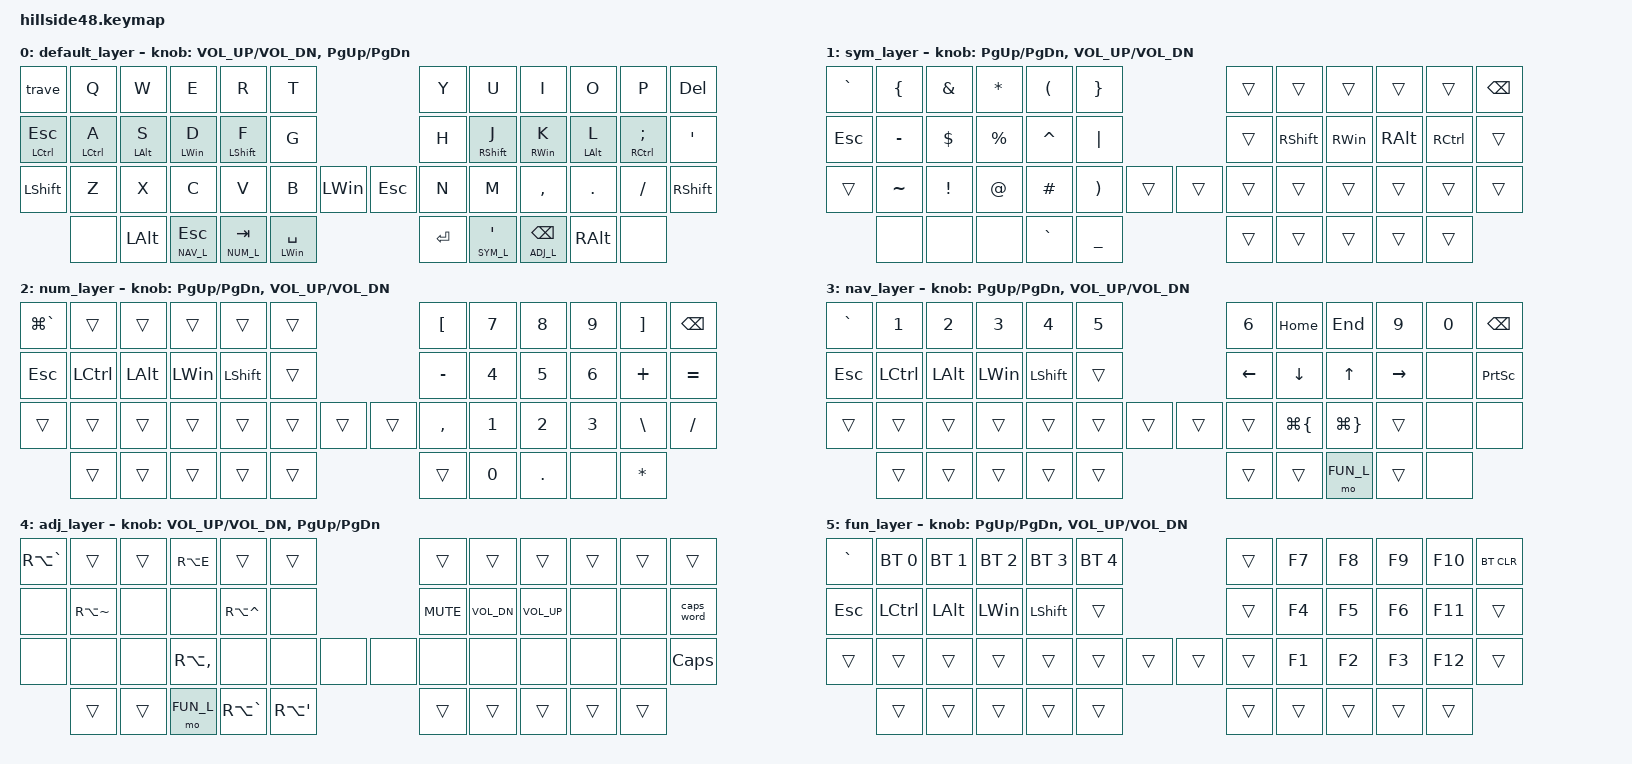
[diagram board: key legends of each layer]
/*
 * Copyright (c) 2022 The ZMK Contributors
 *
 * SPDX-License-Identifier: MIT
 */
/* use helper macros to define left and right hand keys */

#include <zmk-helpers/helper.h>
#include <zmk-helpers/key-labels/hillside48.h>                // keyposition helpers

#include <behaviors.dtsi>
#include <dt-bindings/zmk/bt.h>
#include <dt-bindings/zmk/ext_power.h>
#include <dt-bindings/zmk/keys.h>
#include <dt-bindings/zmk/outputs.h>

#define QWERTY_L 0
#define SYM_L    1
#define NUM_L    2
#define NAV_L    3
#define ADJ_L    4
#define FUN_L    5
#define Undo   LC(Z)
#define Cut    LC(X)
#define Copy   LC(C)
#define Paste  LC(V)
#define QUICK_TAP_MS 175
#define KEYS_L LT0 LT1 LT2 LT3 LT4 LT5 LM0 LM1 LM2 LM3 LM4 LM5 LB0 LB1 LB2 LB3 LB4 LB5
#define KEYS_R RT0 RT1 RT2 RT3 RT4 RT5 RM0 RM1 RM2 RM3 RM4 RM5 RB0 RB1 RB2 RB3 RB4 RB5
#define THUMBS LP0 LH4 LH3 LH2 LH1 LH0 RH0 RH1 RH2 RH3 RH4 RP0

#include "macros.dtsi"
#include "combos.dtsi"

// reuse basic mod-morph scheme
#define SIMPLE_MORPH(NAME, MOD, BINDING1, BINDING2) \
    ZMK_BEHAVIOR(NAME, mod_morph, \
        mods = <(MOD_L ## MOD|MOD_R ## MOD)>; \
        bindings = <BINDING1>, <BINDING2>; \
    )

SIMPLE_MORPH(lpar_lt, SFT, &kp LPAR, &kp LT)
SIMPLE_MORPH(rpar_gt, SFT, &kp RPAR, &kp GT)

#define MAKE_HRM(NAME, HOLD, TAP, TRIGGER_POS) \
    ZMK_BEHAVIOR(NAME, hold_tap, \
        flavor = "balanced"; \
        tapping-term-ms = <280>; \
        quick-tap-ms = <QUICK_TAP_MS>; \
        require-prior-idle-ms = <50>; \
        bindings = <HOLD>, <TAP>; \
        hold-trigger-key-positions = <TRIGGER_POS>; \
        hold-trigger-on-release; \
    )
MAKE_HRM(hml, &kp, &kp, KEYS_R THUMBS)  // left-hand HRMs
MAKE_HRM(hmr, &kp, &kp, KEYS_L THUMBS)  // right-hand HRMs

&caps_word {
    continue-list = <UNDERSCORE MINUS>;
};

&lt{
    flavor = "hold-preferred";
};

&mt{
    flavor = "tap-unless-interrupted";
    tapping-term-ms = <400>;
};

/ {
    behaviors {
        trave: tab_grave {
            compatible = "zmk,behavior-mod-morph";
            #binding-cells = <0>;
            bindings = <&kp TAB>, <&kp GRAVE>;

            mods = <(MOD_LCTL|MOD_RCTL)>;
        };
    };

    keymap {
        compatible = "zmk,keymap";

        default_layer {
            bindings = <
//    ┌─────────────┬─────────────┬─────────────┬──────────────┬──────────────┬─────────────┐                ┌─────┬─────────────┬───────────────┬─────────────┬─────────────┬──────┐
//    │   &trave    │      Q      │      W      │      E       │      R       │      T      │                │  Y  │      U      │       I       │      O      │      P      │ del  │
//    ├─────────────┼─────────────┼─────────────┼──────────────┼──────────────┼─────────────┤                ├─────┼─────────────┼───────────────┼─────────────┼─────────────┼──────┤
//    │ mt lctl esc │ &hml lctl A │ &hml lalt S │ &hml lgui D  │ &hml lsft F  │      G      │                │  H  │ &hmr rsft J │  &hmr rgui K  │ &hmr lalt L │ &hmr rctl ; │  '   │
//    ├─────────────┼─────────────┼─────────────┼──────────────┼──────────────┼─────────────┼──────┐   ┌─────┼─────┼─────────────┼───────────────┼─────────────┼─────────────┼──────┤
//    │    lsft     │      Z      │      X      │      C       │      V       │      B      │ lgui │   │ esc │  N  │      M      │       ,       │      .      │      /      │ rsft │
//    └─────────────┼─────────────┼─────────────┼──────────────┼──────────────┼─────────────┼──────┘   └─────┼─────┼─────────────┼───────────────┼─────────────┼─────────────┼──────┘
//                  │             │    lalt     │ lt NAV_L esc │ lt NUM_L tab │ mt lgui spc │                │ ent │ lt SYM_L '  │ lt ADJ_L bspc │    ralt     │             │
//                  └─────────────┴─────────────┴──────────────┴──────────────┴─────────────┘                └─────┴─────────────┴───────────────┴─────────────┴─────────────┘
  &trave          &kp Q          &kp W             &kp E             &kp R           &kp T                                             &kp Y       &kp U                    &kp I              &kp O             &kp P             &kp DEL
  &mt LCTRL ESC   &hml LCTRL A   &hml LEFT_ALT S   &hml LEFT_WIN D   &hml LSHIFT F   &kp G                                             &kp H       &hmr RSHIFT J            &hmr RIGHT_WIN K   &hmr LEFT_ALT L   &hmr RCTRL SEMI   &kp SINGLE_QUOTE
  &kp LSHFT       &kp Z          &kp X             &kp C             &kp V           &kp B                &kp LEFT_WIN       &kp ESC   &kp N       &kp M                    &kp COMMA          &kp DOT           &kp SLASH         &kp RSHFT
                  &none          &kp LALT          &lt NAV_L ESC     &lt NUM_L TAB   &mt LEFT_WIN SPACE                                &kp ENTER   &lt SYM_L SINGLE_QUOTE   &lt ADJ_L BSPC     &kp RALT          &none
            >;

            sensor-bindings = <&inc_dec_kp C_VOL_UP C_VOL_DN &inc_dec_kp PG_UP PG_DN>;
        };

        sym_layer {
            bindings = <
//    ┌─────┬─────┬─────┬─────┬───┬───┐               ┌─────┬──────┬──────┬──────┬──────┬──────┐
//    │  `  │  {  │  &  │  *  │ ( │ } │               │     │      │      │      │      │ bspc │
//    ├─────┼─────┼─────┼─────┼───┼───┤               ├─────┼──────┼──────┼──────┼──────┼──────┤
//    │ esc │  -  │  $  │  %  │ ^ │ | │               │     │ rsft │ rgui │ ralt │ rctl │      │
//    ├─────┼─────┼─────┼─────┼───┼───┼─────┐   ┌─────┼─────┼──────┼──────┼──────┼──────┼──────┤
//    │     │  ~  │  !  │  @  │ # │ ) │     │   │     │     │      │      │      │      │      │
//    └─────┼─────┼─────┼─────┼───┼───┼─────┘   └─────┼─────┼──────┼──────┼──────┼──────┼──────┘
//          │     │     │     │ ` │ _ │               │     │      │      │      │      │
//          └─────┴─────┴─────┴───┴───┘               └─────┴──────┴──────┴──────┴──────┘
  &kp GRAVE   &kp LEFT_BRACE   &kp AMPERSAND   &kp ASTRK     &kp LEFT_PARENTHESIS   &kp RIGHT_BRACE                               &trans   &trans            &trans          &trans          &trans      &kp BACKSPACE
  &kp ESC     &kp MINUS        &kp DOLLAR      &kp PERCENT   &kp CARET              &kp PIPE                                      &trans   &kp RIGHT_SHIFT   &kp RIGHT_WIN   &kp RIGHT_ALT   &kp RCTRL   &trans
  &trans      &kp TILDE        &kp EXCL        &kp AT        &kp HASH               &kp RIGHT_PARENTHESIS   &trans       &trans   &trans   &trans            &trans          &trans          &trans      &trans
              &none            &none           &none         &kp GRAVE              &kp UNDER                                     &trans   &trans            &trans          &trans          &trans
            >;

            sensor-bindings = <&inc_dec_kp PG_UP PG_DN &inc_dec_kp C_VOL_UP C_VOL_DN>;
        };

        num_layer {
            bindings = <
//    ┌─────────┬──────────────┬──────┬──────┬──────┬─────┐               ┌─────┬───┬───┬─────┬───┬──────┐
//    │ lgui(`) │              │      │      │      │     │               │  [  │ 7 │ 8 │  9  │ ] │ bspc │
//    ├─────────┼──────────────┼──────┼──────┼──────┼─────┤               ├─────┼───┼───┼─────┼───┼──────┤
//    │   esc   │ left_CONTROL │ lalt │ lgui │ lsft │     │               │  -  │ 4 │ 5 │  6  │ + │  =   │
//    ├─────────┼──────────────┼──────┼──────┼──────┼─────┼─────┐   ┌─────┼─────┼───┼───┼─────┼───┼──────┤
//    │         │              │      │      │      │     │     │   │     │  ,  │ 1 │ 2 │  3  │ \ │  /   │
//    └─────────┼──────────────┼──────┼──────┼──────┼─────┼─────┘   └─────┼─────┼───┼───┼─────┼───┼──────┘
//              │              │      │      │      │     │               │     │ 0 │ . │     │ * │
//              └──────────────┴──────┴──────┴──────┴─────┘               └─────┴───┴───┴─────┴───┘
  &kp LG(GRAVE)   &trans             &trans         &trans         &trans           &trans                         &kp LEFT_BRACKET   &kp N7         &kp N8         &kp N9         &kp RIGHT_BRACKET   &kp BACKSPACE
  &kp ESC         &kp LEFT_CONTROL   &kp LEFT_ALT   &kp LEFT_WIN   &kp LEFT_SHIFT   &trans                         &kp MINUS          &kp NUMBER_4   &kp NUMBER_5   &kp NUMBER_6   &kp PLUS            &kp EQUAL
  &trans          &trans             &trans         &trans         &trans           &trans   &trans       &trans   &kp COMMA          &kp NUMBER_1   &kp NUMBER_2   &kp NUMBER_3   &kp BACKSLASH       &kp SLASH
                  &trans             &trans         &trans         &trans           &trans                         &trans             &kp N0         &kp DOT        &none          &kp ASTRK
            >;

            sensor-bindings = <&inc_dec_kp PG_UP PG_DN &inc_dec_kp C_VOL_UP C_VOL_DN>;
        };

        nav_layer {
            bindings = <
//    ┌─────┬──────────────┬──────┬──────┬──────┬─────┐               ┌──────┬─────────┬──────────┬──────┬─────┬──────┐
//    │  `  │      1       │  2   │  3   │  4   │  5  │               │  6   │  home   │   end    │  9   │  0  │ bspc │
//    ├─────┼──────────────┼──────┼──────┼──────┼─────┤               ├──────┼─────────┼──────────┼──────┼─────┼──────┤
//    │ esc │ left_CONTROL │ lalt │ lgui │ lsft │     │               │ left │  down   │    up    │ rght │     │ pscr │
//    ├─────┼──────────────┼──────┼──────┼──────┼─────┼─────┐   ┌─────┼──────┼─────────┼──────────┼──────┼─────┼──────┤
//    │     │              │      │      │      │     │     │   │     │      │ lgui({) │ lgui(})  │      │     │      │
//    └─────┼──────────────┼──────┼──────┼──────┼─────┼─────┘   └─────┼──────┼─────────┼──────────┼──────┼─────┼──────┘
//          │              │      │      │      │     │               │      │         │ mo FUN_L │      │     │
//          └──────────────┴──────┴──────┴──────┴─────┘               └──────┴─────────┴──────────┴──────┴─────┘
  &kp GRAVE   &kp N1             &kp N2         &kp N3         &kp N4           &kp N5                         &kp N6           &kp HOME             &kp END               &kp N9            &kp N0   &kp BACKSPACE
  &kp ESC     &kp LEFT_CONTROL   &kp LEFT_ALT   &kp LEFT_WIN   &kp LEFT_SHIFT   &trans                         &kp LEFT_ARROW   &kp DOWN_ARROW       &kp UP_ARROW          &kp RIGHT_ARROW   &none    &kp PSCRN
  &trans      &trans             &trans         &trans         &trans           &trans   &trans       &trans   &trans           &kp LG(LEFT_BRACE)   &kp LG(RIGHT_BRACE)   &trans            &none    &none
              &trans             &trans         &trans         &trans           &trans                         &trans           &trans               &mo FUN_L             &trans            &none
            >;

            sensor-bindings = <&inc_dec_kp PG_UP PG_DN &inc_dec_kp C_VOL_UP C_VOL_DN>;
        };

        adj_layer {
            bindings = <
//    ┌─────────┬─────────┬─────┬──────────┬─────────┬─────────┐               ┌──────┬──────┬──────┬─────┬─────┬───────┐
//    │ ralt(`) │         │     │ ralt(E)  │         │         │               │      │      │      │     │     │       │
//    ├─────────┼─────────┼─────┼──────────┼─────────┼─────────┤               ├──────┼──────┼──────┼─────┼─────┼───────┤
//    │         │ ralt(~) │     │          │ ralt(^) │         │               │ mute │ vold │ volu │     │     │ capsw │
//    ├─────────┼─────────┼─────┼──────────┼─────────┼─────────┼─────┐   ┌─────┼──────┼──────┼──────┼─────┼─────┼───────┤
//    │         │         │     │ ralt(,)  │         │         │     │   │     │      │      │      │     │     │ caps  │
//    └─────────┼─────────┼─────┼──────────┼─────────┼─────────┼─────┘   └─────┼──────┼──────┼──────┼─────┼─────┼───────┘
//              │         │     │ mo FUN_L │ ralt(`) │ ralt(') │               │      │      │      │     │     │
//              └─────────┴─────┴──────────┴─────────┴─────────┘               └──────┴──────┴──────┴─────┴─────┘
  &kp RA(GRAVE)   &trans          &trans   &kp RA(E)       &trans          &trans                                     &trans       &trans         &trans         &trans   &trans   &trans
  &none           &kp RA(TILDE)   &none    &none           &kp RA(CARET)   &none                                      &kp C_MUTE   &kp C_VOL_DN   &kp C_VOL_UP   &none    &none    &caps_word
  &none           &none           &none    &kp RA(COMMA)   &none           &none                  &none       &none   &none        &none          &none          &none    &none    &kp CAPS
                  &trans          &trans   &mo FUN_L       &kp RA(GRAVE)   &kp RA(SINGLE_QUOTE)                       &trans       &trans         &trans         &trans   &trans
            >;

            sensor-bindings = <&inc_dec_kp C_VOL_UP C_VOL_DN &inc_dec_kp PG_UP PG_DN>;
        };

        fun_layer {
            bindings = <
//    ┌─────┬──────────────┬──────────┬──────────┬──────────┬──────────┐               ┌─────┬─────┬─────┬─────┬─────┬────────┐
//    │  `  │   bt_sel 0   │ bt_sel 1 │ bt_sel 2 │ bt_sel 3 │ bt_sel 4 │               │     │ f7  │ f8  │ f9  │ f10 │ bt_clr │
//    ├─────┼──────────────┼──────────┼──────────┼──────────┼──────────┤               ├─────┼─────┼─────┼─────┼─────┼────────┤
//    │ esc │ left_CONTROL │   lalt   │   lgui   │   lsft   │          │               │     │ f4  │ f5  │ f6  │ f11 │        │
//    ├─────┼──────────────┼──────────┼──────────┼──────────┼──────────┼─────┐   ┌─────┼─────┼─────┼─────┼─────┼─────┼────────┤
//    │     │              │          │          │          │          │     │   │     │     │ f1  │ f2  │ f3  │ f12 │        │
//    └─────┼──────────────┼──────────┼──────────┼──────────┼──────────┼─────┘   └─────┼─────┼─────┼─────┼─────┼─────┼────────┘
//          │              │          │          │          │          │               │     │     │     │     │     │
//          └──────────────┴──────────┴──────────┴──────────┴──────────┘               └─────┴─────┴─────┴─────┴─────┘
  &kp GRAVE   &bt BT_SEL 0       &bt BT_SEL 1   &bt BT_SEL 2   &bt BT_SEL 3     &bt BT_SEL 4                         &trans   &kp F7   &kp F8   &kp F9   &kp F10   &bt BT_CLR
  &kp ESC     &kp LEFT_CONTROL   &kp LEFT_ALT   &kp LEFT_WIN   &kp LEFT_SHIFT   &trans                               &trans   &kp F4   &kp F5   &kp F6   &kp F11   &trans
  &trans      &trans             &trans         &trans         &trans           &trans         &trans       &trans   &trans   &kp F1   &kp F2   &kp F3   &kp F12   &trans
              &trans             &trans         &trans         &trans           &trans                               &trans   &trans   &trans   &trans   &trans
            >;

            sensor-bindings = <&inc_dec_kp PG_UP PG_DN &inc_dec_kp C_VOL_UP C_VOL_DN>;
        };
    };
};
